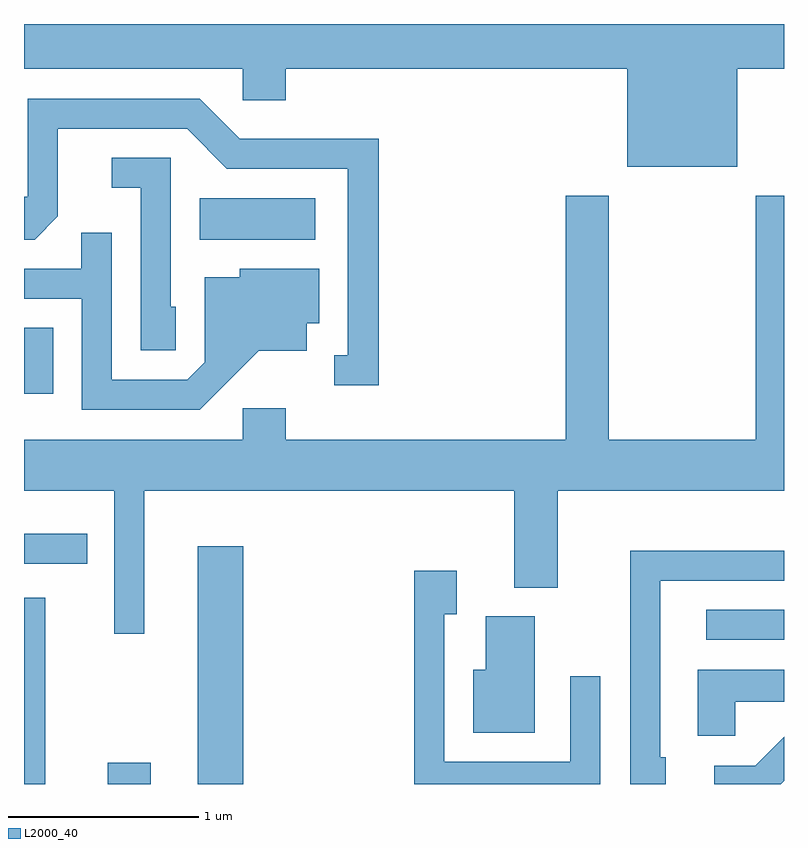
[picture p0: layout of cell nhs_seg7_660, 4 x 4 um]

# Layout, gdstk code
import gdstk
lib = gdstk.Library(unit=1e-6, precision=1e-09)
def R(c, l, rs):  # rectangles x0, y0, x1, y1
    for r in rs: c.add(gdstk.rectangle(r[:2], r[2:], *l))
def P(c, l, *ps):  # polygons
    for p in ps: c.add(gdstk.Polygon(p, *l))
L2000_40 = (2000, 40)

nhs_seg7_660 = lib.new_cell('nhs_seg7_660')
R(nhs_seg7_660, L2000_40, [(203.611,1788.252,203.724,1789.233), (204.051,1788.252,204.279,1788.364), (204.526,1788.252,204.764,1789.504), (207.203,1789.011,207.611,1789.169), (203.611,1789.411,203.943,1789.569), (203.611,1790.306,203.764,1790.654), (204.536,1791.116,205.144,1791.334)])
P(nhs_seg7_660, L2000_40, [(207.364,1792.016),(207.611,1792.016),(207.611,1792.252),(203.611,1792.252),(203.611,1792.016),(204.761,1792.016),(204.761,1791.851),(204.989,1791.851),(204.989,1792.016),(206.786,1792.016),(206.786,1791.501),(207.364,1791.501)],
  [(205.479,1791.649),(204.747,1791.649),(204.537,1791.859),(203.631,1791.859),(203.631,1791.344),(203.611,1791.344),(203.611,1791.116),(203.667,1791.116),(203.789,1791.239),(203.789,1791.701),(204.469,1791.701),(204.679,1791.491),(205.316,1791.491),(205.316,1790.509),(205.243,1790.509),(205.243,1790.351),(205.479,1790.351)],
  [(204.409,1790.764),(204.384,1790.764),(204.384,1791.549),(204.073,1791.549),(204.073,1791.391),(204.226,1791.391),(204.226,1790.536),(204.409,1790.536)],
  [(204.244,1789.796),(206.191,1789.796),(206.191,1789.286),(206.419,1789.286),(206.419,1789.796),(207.611,1789.796),(207.611,1791.349),(207.461,1791.349),(207.461,1790.064),(206.689,1790.064),(206.689,1791.349),(206.461,1791.349),(206.461,1790.064),(204.989,1790.064),(204.989,1790.229),(204.761,1790.229),(204.761,1790.064),(203.611,1790.064),(203.611,1789.796),(204.086,1789.796),(204.086,1789.043),(204.244,1789.043)],
  [(204.847,1790.531),(205.099,1790.531),(205.099,1790.676),(205.164,1790.676),(205.164,1790.964),(204.746,1790.964),(204.746,1790.919),(204.561,1790.919),(204.561,1790.472),(204.469,1790.379),(204.074,1790.379),(204.074,1791.153),(203.911,1791.153),(203.911,1790.964),(203.611,1790.964),(203.611,1790.806),(203.916,1790.806),(203.916,1790.221),(204.537,1790.221)],
  [(206.989,1788.394),(206.959,1788.394),(206.959,1789.321),(207.611,1789.321),(207.611,1789.479),(206.801,1789.479),(206.801,1788.252),(206.989,1788.252)],
  [(206.644,1788.818),(206.486,1788.818),(206.486,1788.369),(205.824,1788.369),(205.824,1789.146),(205.889,1789.146),(205.889,1789.374),(205.666,1789.374),(205.666,1788.252),(206.644,1788.252)],
  [(206.299,1789.134),(206.041,1789.134),(206.041,1788.854),(205.976,1788.854),(205.976,1788.521),(206.299,1788.521)],
  [(207.354,1788.686),(207.611,1788.686),(207.611,1788.854),(207.156,1788.854),(207.156,1788.506),(207.354,1788.506)],
  [(207.611,1788.27),(207.611,1788.501),(207.459,1788.349),(207.243,1788.349),(207.243,1788.252),(207.593,1788.252)])

lib.write_gds('nhs_seg7_660.gds')
